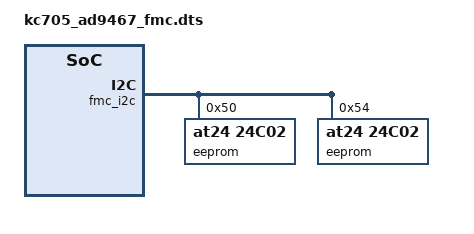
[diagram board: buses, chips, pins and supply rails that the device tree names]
// SPDX-License-Identifier: GPL-2.0
/*
 * Analog Devices AD9467
 * https://wiki.analog.com/resources/tools-software/linux-drivers/iio-adc/axi-adc-hdl
 * https://wiki.analog.com/resources/eval/ad9467-fmc-250ebz
 * https://wiki.analog.com/resources/fpga/xilinx/fmc/ad9467
 *
 * hdl_project: <ad9467_fmc/kc705>
 * board_revision: <>
 *
 * Copyright (C) 2016-2019 Analog Devices Inc.
 */
/dts-v1/;
#include "kc705.dtsi"

#define fmc_i2c fmc_lpc_iic
#define fmc_spi axi_spi

&amba_pl {
	axi_ad9467: cf-ad9467-core-lpc@44a00000 {
		compatible = "adi,axi-adc-10.0.a";
		reg = <0x44a00000 0x10000>;
		xlnx,s-axi-min-size = <0x0000FFFF>;
		dmas = <&rx_dma 0>;
		dma-names = "rx";
		spibus-connected = <&adc_ad9467>;
	};

	rx_dma: dma@44a30000 {
		#dma-cells = <1>;
		compatible = "adi,axi-dmac-1.00.a";
		reg = <0x44a30000 0x10000>;
		interrupt-parent = <&axi_intc>;
		interrupts = <12 2>;
		clocks = <&clk_bus_0>;

		adi,channels {
			#size-cells = <0>;
			#address-cells = <1>;

			dma-channel@0 {
				reg = <0>;
				adi,source-bus-width = <16>;
				adi,source-bus-type = <2>;
				adi,destination-bus-width = <64>;
				adi,destination-bus-type = <0>;
			};
		};
	};
};

&fmc_i2c {
	eeprom@50 {
		compatible = "at24,24c02";
		reg = <0x50>;
	};

	eeprom@54 {
		compatible = "at24,24c02";
		reg = <0x54>;
	};
};

#include "adi-ad9467-fmc-250ebz.dtsi"
